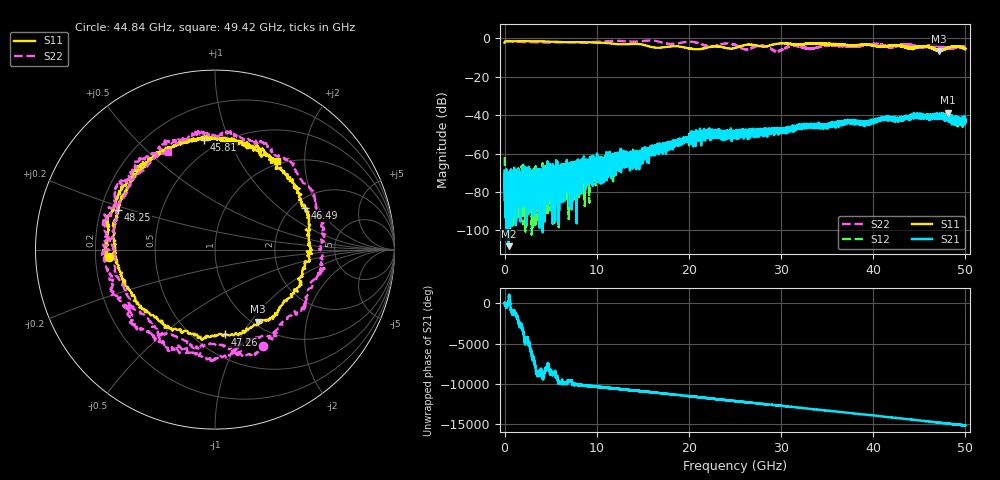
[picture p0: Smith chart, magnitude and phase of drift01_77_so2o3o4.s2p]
!Created with skrf (http://scikit-rf.org).
# Hz S RI R 50.0
!freq ReS11 ImS11 ReS21 ImS21 ReS12 ImS12 ReS22 ImS22
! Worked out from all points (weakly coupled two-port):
!   10001 points, 300 kHz to 50 GHz, reference 50 ohm
!   highest |S21| = -38.66 dB at 48.07 GHz (marker M1); lowest = -108.3 dB at 440.3 MHz (marker M2)
!   lowest |S11| = -6.6 dB at 47.1 GHz (marker M3), VSWR 2.75, Z = 52.8 - j54 ohm
!   |S11| at or under -10 dB: nowhere
!   |S22| runs from -6.8 to -1.0 dB; largest |S21 - S12| = 0.0042
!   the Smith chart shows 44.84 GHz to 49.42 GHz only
!   S11 on the Smith chart (normalised r, x): 44.84 GHz: 0.26, -0.03; 45.81 GHz: 0.42, +0.82; 46.49 GHz: 2.31, +1.55; 47.26 GHz: 0.69, -0.84; 48.25 GHz: 0.27, +0.18; 49.42 GHz: 0.94, +1.48
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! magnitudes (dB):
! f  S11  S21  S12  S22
! 300 kHz  -2.1  -68.9  -61.9  -1.3
! 255.3 MHz  -1.4  -75.1  -73.2  -1.4
! 440.3 MHz  -1.4  -108.3  -72.9  -1.4
! 5.345 GHz  -1.7  -68.8  -77.0  -2.0
! 8.335 GHz  -1.9  -68.4  -73.0  -2.1
! 16.67 GHz  -4.8  -57.9  -56.6  -1.6
! 21.81 GHz  -5.0  -50.8  -47.4  -3.7
! 25 GHz  -5.0  -50.9  -50.7  -3.4
! 28.07 GHz  -4.2  -47.8  -48.6  -3.9
! 29.55 GHz  -2.8  -49.1  -47.9  -6.7
! 31.29 GHz  -3.0  -47.1  -47.4  -4.0
! 33.34 GHz  -2.6  -45.6  -45.4  -5.2
! 41.67 GHz  -3.9  -41.9  -41.3  -4.4
! 44.84 GHz  -4.5  -40.9  -40.0  -4.5
! 45.81 GHz  -4.2  -40.7  -40.9  -4.1
! 46.49 GHz  -5.1  -40.8  -40.4  -3.6
! 47.1 GHz  -6.6  -40.9  -39.7  -4.1
! 47.26 GHz  -6.5  -41.0  -41.1  -4.2
! 48.07 GHz  -5.1  -38.7  -42.2  -5.1
! 48.25 GHz  -4.7  -40.3  -42.4  -5.2
! 49.42 GHz  -4.4  -42.7  -43.9  -4.4
! 50 GHz  -5.4  -42.7  -43.6  -4.2
